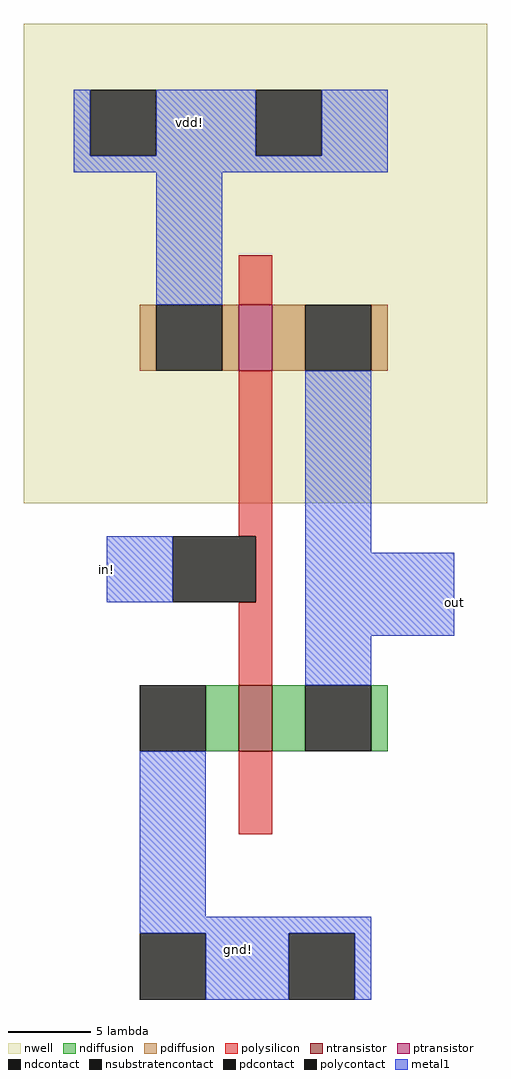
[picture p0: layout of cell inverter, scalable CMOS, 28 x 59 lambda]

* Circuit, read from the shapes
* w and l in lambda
.subckt inverter gnd! in! out vdd!
M1 out in! gnd! VSUBS nfet w=4 l=2
M2 out in! vdd! vdd! pfet w=4 l=2
.ends

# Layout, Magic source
magic
tech scmos
<< nwell >>
rect -16 -2 12 27
<< ntransistor >>
rect -3 -17 -1 -13
<< ptransistor >>
rect -3 6 -1 10
<< ndiffusion >>
rect -5 -17 -3 -13
rect -1 -17 1 -13
rect 5 -17 6 -13
<< pdiffusion >>
rect -9 6 -8 10
rect -4 6 -3 10
rect -1 6 1 10
rect 5 6 6 10
<< ndcontact >>
rect -9 -17 -5 -13
rect 1 -17 5 -13
<< pdcontact >>
rect -8 6 -4 10
rect 1 6 5 10
<< nsubstratencontact >>
rect -12 19 -8 23
rect -2 19 2 23
rect -9 -32 -5 -28
rect 0 -32 4 -28
<< polysilicon >>
rect -3 10 -1 13
rect -3 -4 -1 6
rect -2 -8 -1 -4
rect -3 -13 -1 -8
rect -3 -22 -1 -17
<< polycontact >>
rect -7 -8 -2 -4
<< metal1 >>
rect -13 19 -12 23
rect -8 19 -2 23
rect 2 19 6 23
rect -13 18 6 19
rect -8 10 -4 18
rect -11 -8 -7 -4
rect 1 -5 5 6
rect 1 -10 10 -5
rect 1 -13 5 -10
rect -9 -27 -5 -17
rect -9 -28 5 -27
rect -5 -32 0 -28
rect 4 -32 5 -28
<< labels >>
rlabel metal1 -3 -29 -3 -29 1 gnd!
rlabel metal1 -6 21 -6 21 1 vdd!
rlabel metal1 -11 -6 -11 -6 3 in!
rlabel metal1 10 -8 10 -8 7 out
<< end >>
